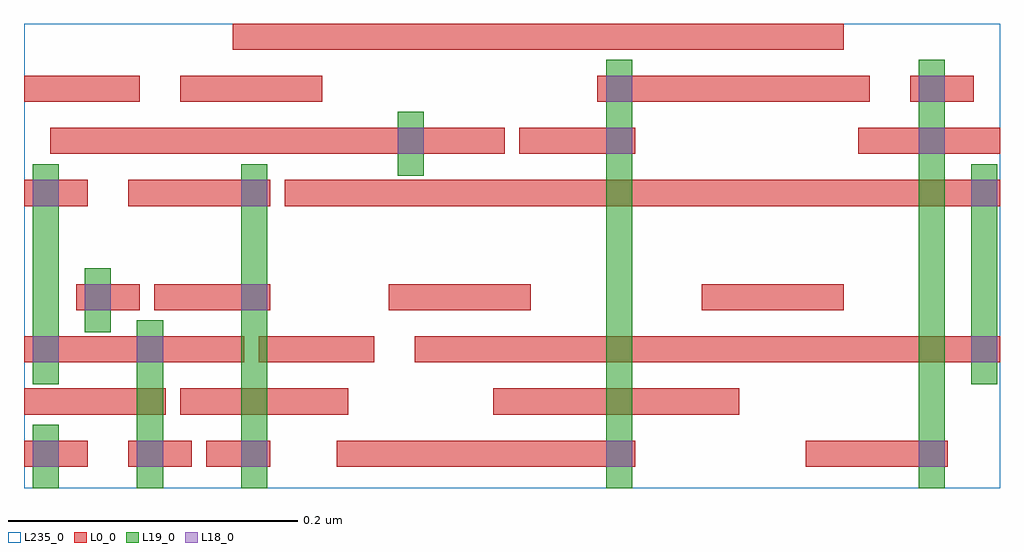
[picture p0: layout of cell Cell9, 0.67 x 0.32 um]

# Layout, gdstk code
import gdstk
lib = gdstk.Library(unit=1e-6, precision=2.5e-10)
def R(c, l, rs):  # rectangles x0, y0, x1, y1
    for r in rs: c.add(gdstk.rectangle(r[:2], r[2:], *l))
def A(c, l, x, y, w, h, nx, ny, dx, dy):  # array of equal rectangles
    R(c, l, [(x+i*dx, y+j*dy, x+i*dx+w, y+j*dy+h) for i in range(nx) for j in range(ny)])
L0_0 = (0, 0)
L18_0 = (18, 0)
L19_0 = (19, 0)
L235_0 = (235, 0)

cell9 = lib.new_cell('Cell9')
R(cell9, L0_0, [(0.004,-0.001,0.048,0.017), (0.076,-0.001,0.12,0.017), (0.13,-0.001,0.174,0.017), (0.22,-0.001,0.426,0.017), (0.544,-0.001,0.642,0.017), (0.004,0.035,0.102,0.053), (0.112,0.035,0.228,0.053), (0.328,0.035,0.498,0.053), (0.004,0.071,0.156,0.089), (0.166,0.071,0.246,0.089), (0.274,0.071,0.678,0.089), (0.04,0.107,0.084,0.125), (0.094,0.107,0.174,0.125), (0.256,0.107,0.354,0.125), (0.472,0.107,0.57,0.125), (0.004,0.179,0.048,0.197), (0.076,0.179,0.174,0.197), (0.184,0.179,0.678,0.197), (0.022,0.215,0.336,0.233), (0.346,0.215,0.426,0.233), (0.58,0.215,0.678,0.233), (0.004,0.251,0.084,0.269), (0.112,0.251,0.21,0.269), (0.4,0.251,0.588,0.269), (0.616,0.251,0.66,0.269), (0.148,0.287,0.57,0.305)])
A(cell9, L18_0, 0.01, -0.001, 0.018, 0.018, 3, 1, 0.072, 0)
R(cell9, L18_0, [(0.406,-0.001,0.424,0.017), (0.622,-0.001,0.64,0.017), (0.01,0.071,0.028,0.089), (0.082,0.071,0.1,0.089), (0.658,0.071,0.676,0.089), (0.046,0.107,0.064,0.125), (0.154,0.107,0.172,0.125), (0.01,0.179,0.028,0.197), (0.154,0.179,0.172,0.197), (0.658,0.179,0.676,0.197), (0.262,0.215,0.28,0.233), (0.406,0.215,0.424,0.233), (0.622,0.215,0.64,0.233), (0.406,0.251,0.424,0.269), (0.622,0.251,0.64,0.269)])
R(cell9, L19_0, [(0.01,-0.016,0.028,0.028), (0.082,-0.016,0.1,0.1), (0.154,-0.016,0.172,0.208), (0.406,-0.016,0.424,0.28), (0.622,-0.016,0.64,0.28), (0.01,0.056,0.028,0.208), (0.658,0.056,0.676,0.208), (0.046,0.092,0.064,0.136), (0.262,0.2,0.28,0.244)])
R(cell9, L235_0, [(0.004,-0.016,0.678,0.305)])

lib.write_gds('Cell9.gds')
